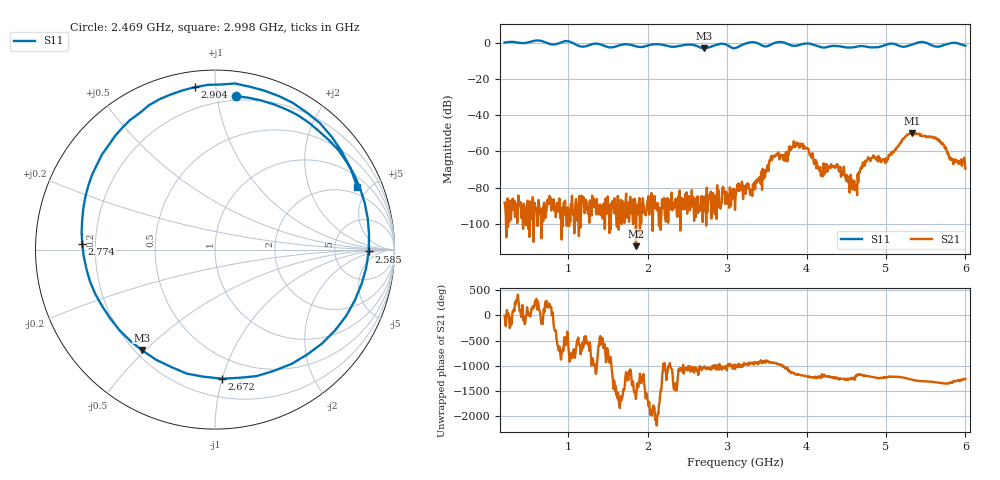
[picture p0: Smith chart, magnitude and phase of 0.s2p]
! NanoVNA-App by OneOfEleven et al v1.1.209 (+OD15)
! Date: 2024-07-30 15:09:35
! Start: 200MHz Stop: 6GHz Points: 801
! S-Parameter data: F S11 S21 S12 S22
# Hz S RI R 50
!  Frequency  S11_Real  S11_Imag  S21_Real  S21_Imag  S12_Real  S12_Imag  S22_Real  S22_Imag
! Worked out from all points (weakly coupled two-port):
!   801 points, 200 MHz to 6 GHz, reference 50 ohm
!   highest |S21| = -49.79 dB at 5.333 GHz (marker M1); lowest = -112.3 dB at 1.853 GHz (marker M2)
!   lowest |S11| = -3.2 dB at 2.708 GHz (marker M3), VSWR 5.50, Z = 11.3 - j24.4 ohm
!   |S11| at or under -10 dB: nowhere
!   S12 and S22 are empty: the file has one direction only
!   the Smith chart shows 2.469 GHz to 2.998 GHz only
!   S11 on the Smith chart (normalised r, x): 2.469 GHz: 0.17, +1.13; 2.585 GHz: 13, -1; 2.672 GHz: 0.33, -1.00; 2.774 GHz: 0.15, +0.02; 2.904 GHz: 0.08, +0.88; 2.998 GHz: 1.51, +4.21
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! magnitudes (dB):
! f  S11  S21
! 200 MHz  0.0  -88.2
! 1.171 GHz  -2.2  -84.5
! 1.853 GHz  -2.0  -112.3
! 2.136 GHz  -0.9  -92.6
! 2.469 GHz  -1.3  -91.7
! 2.585 GHz  -1.3  -98.4
! 2.672 GHz  -2.9  -84.9
! 2.708 GHz  -3.2  -93.0
! 2.774 GHz  -2.6  -86.4
! 2.904 GHz  -0.8  -91.1
! 2.998 GHz  -1.3  -86.2
! 3.1 GHz  -3.0  -92.3
! 3.325 GHz  0.3  -78.1
! 3.564 GHz  -0.8  -64.8
! 3.869 GHz  -1.7  -55.2
! 4.072 GHz  -0.9  -61.0
! 4.608 GHz  -2.5  -81.3
! 4.768 GHz  -2.4  -64.6
! 5.036 GHz  -0.7  -61.9
! 5.333 GHz  -1.0  -49.8
! 5.645 GHz  -2.3  -53.4
! 6 GHz  -1.7  -69.6
